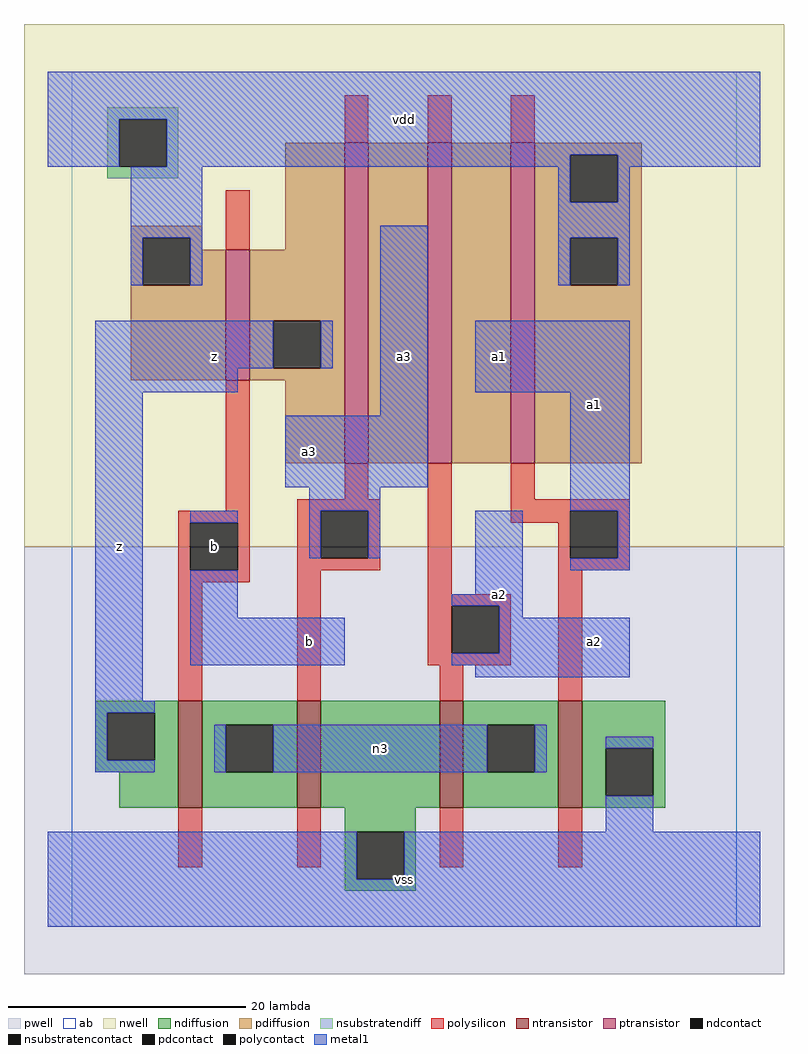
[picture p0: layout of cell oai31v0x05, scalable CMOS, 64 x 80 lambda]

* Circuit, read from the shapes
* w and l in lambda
.subckt oai31v0x05 a1 a2 a3 b n3 vdd vss z
M1 n3 b z VSUBS nfet w=9 l=2
M2 vss a3 n3 VSUBS nfet w=9 l=2
M3 n3 a2 vss VSUBS nfet w=9 l=2
M4 vss a1 n3 VSUBS nfet w=9 l=2
M5 z b vdd vdd pfet w=11 l=2
M6 n1 a3 z vdd pfet w=27 l=2
M7 n2 a2 n1 vdd pfet w=27 l=2
M8 vdd a1 n2 vdd pfet w=27 l=2
.ends

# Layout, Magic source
magic
tech scmos
<< ab >>
rect 0 0 56 72
<< pwell >>
rect -4 -4 60 32
<< nwell >>
rect -4 32 60 76
<< polysilicon >>
rect 23 66 25 70
rect 30 66 32 70
rect 37 66 39 70
rect 13 57 15 62
rect 13 35 15 46
rect 23 36 25 39
rect 9 34 15 35
rect 9 30 10 34
rect 14 30 15 34
rect 9 29 15 30
rect 19 35 26 36
rect 19 31 21 35
rect 25 31 26 35
rect 19 30 26 31
rect 9 19 11 29
rect 19 19 21 30
rect 30 28 32 39
rect 37 36 39 39
rect 37 35 47 36
rect 37 34 42 35
rect 41 31 42 34
rect 46 31 47 35
rect 41 30 47 31
rect 30 27 37 28
rect 30 23 32 27
rect 36 23 37 27
rect 30 22 37 23
rect 31 19 33 22
rect 41 19 43 30
rect 9 5 11 10
rect 19 5 21 10
rect 31 5 33 10
rect 41 5 43 10
<< ndiffusion >>
rect 2 18 9 19
rect 2 14 3 18
rect 7 14 9 18
rect 2 13 9 14
rect 4 10 9 13
rect 11 17 19 19
rect 11 13 13 17
rect 17 13 19 17
rect 11 10 19 13
rect 21 10 31 19
rect 33 17 41 19
rect 33 13 35 17
rect 39 13 41 17
rect 33 10 41 13
rect 43 15 50 19
rect 43 11 45 15
rect 49 11 50 15
rect 43 10 50 11
rect 23 8 29 10
rect 23 4 24 8
rect 28 4 29 8
rect 23 3 29 4
<< pdiffusion >>
rect 5 58 11 59
rect 5 54 6 58
rect 10 57 11 58
rect 18 57 23 66
rect 10 54 13 57
rect 5 46 13 54
rect 15 51 23 57
rect 15 47 17 51
rect 21 47 23 51
rect 15 46 23 47
rect 18 39 23 46
rect 25 39 30 66
rect 32 39 37 66
rect 39 65 48 66
rect 39 61 42 65
rect 46 61 48 65
rect 39 58 48 61
rect 39 54 42 58
rect 46 54 48 58
rect 39 39 48 54
<< metal1 >>
rect -2 68 58 72
rect -2 64 4 68
rect 8 65 58 68
rect 8 64 42 65
rect 5 58 11 64
rect 41 61 42 64
rect 46 64 58 65
rect 46 61 47 64
rect 5 54 6 58
rect 10 54 11 58
rect 2 47 17 51
rect 21 47 22 51
rect 2 45 14 47
rect 2 19 6 45
rect 26 43 30 59
rect 41 58 47 61
rect 41 54 42 58
rect 46 54 47 58
rect 34 45 47 51
rect 18 37 30 43
rect 20 35 26 37
rect 42 35 47 45
rect 10 34 14 35
rect 20 31 21 35
rect 25 31 26 35
rect 10 26 14 30
rect 34 28 38 35
rect 46 31 47 35
rect 42 30 47 31
rect 32 27 38 28
rect 10 22 23 26
rect 36 26 38 27
rect 36 23 47 26
rect 32 22 47 23
rect 34 21 47 22
rect 2 18 7 19
rect 2 14 3 18
rect 2 13 7 14
rect 12 13 13 17
rect 17 13 35 17
rect 39 13 40 17
rect 45 15 49 16
rect 45 8 49 11
rect -2 4 24 8
rect 28 4 58 8
rect -2 0 58 4
<< ntransistor >>
rect 9 10 11 19
rect 19 10 21 19
rect 31 10 33 19
rect 41 10 43 19
<< ptransistor >>
rect 13 46 15 57
rect 23 39 25 66
rect 30 39 32 66
rect 37 39 39 66
<< polycontact >>
rect 10 30 14 34
rect 21 31 25 35
rect 42 31 46 35
rect 32 23 36 27
<< ndcontact >>
rect 3 14 7 18
rect 13 13 17 17
rect 35 13 39 17
rect 45 11 49 15
rect 24 4 28 8
<< pdcontact >>
rect 6 54 10 58
rect 17 47 21 51
rect 42 61 46 65
rect 42 54 46 58
<< nsubstratencontact >>
rect 4 64 8 68
<< nsubstratendiff >>
rect 3 68 9 69
rect 3 64 4 68
rect 8 64 9 68
rect 3 63 9 64
<< labels >>
rlabel metal1 4 32 4 32 6 z
rlabel polycontact 12 32 12 32 6 b
rlabel metal1 20 24 20 24 6 b
rlabel metal1 20 40 20 40 6 a3
rlabel metal1 12 48 12 48 6 z
rlabel metal1 28 4 28 4 6 vss
rlabel metal1 26 15 26 15 6 n3
rlabel metal1 36 28 36 28 6 a2
rlabel metal1 28 48 28 48 6 a3
rlabel metal1 36 48 36 48 6 a1
rlabel metal1 28 68 28 68 6 vdd
rlabel metal1 44 24 44 24 6 a2
rlabel metal1 44 44 44 44 6 a1
<< end >>
